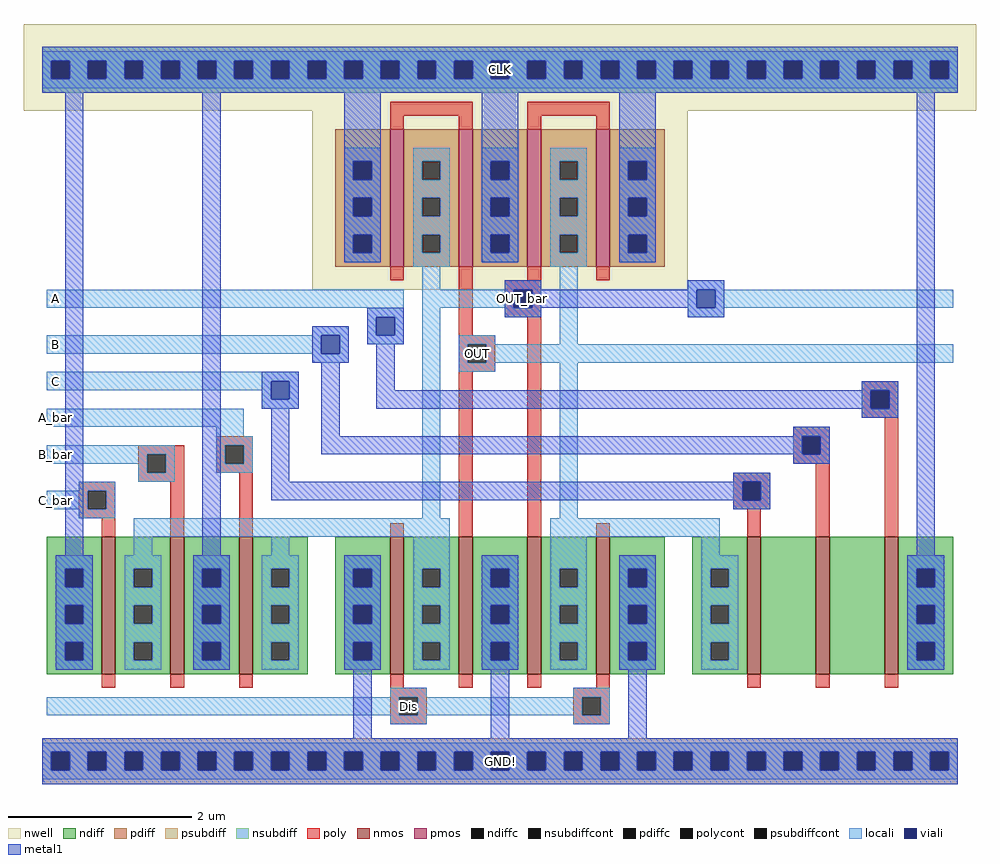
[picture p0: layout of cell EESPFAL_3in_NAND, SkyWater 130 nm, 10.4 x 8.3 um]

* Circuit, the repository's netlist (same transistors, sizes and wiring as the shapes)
* NGSPICE file created from EESPFAL_3in_NAND.ext - technology: sky130A

.subckt EESPFAL_3in_NAND A A_bar B B_bar C C_bar OUT OUT_bar Dis GND CLK
X0 CLK B_bar OUT_bar GND sky130_fd_pr__nfet_01v8 ad=7.7e+12p pd=3.36e+07u as=2.7e+12p ps=1.26e+07u w=1.5e+06u l=150000u
X1 OUT OUT_bar CLK CLK sky130_fd_pr__pfet_01v8 ad=9e+11p pd=4.2e+06u as=2.7e+12p ps=1.26e+07u w=1.5e+06u l=150000u M=2
X2 OUT OUT_bar GND GND sky130_fd_pr__nfet_01v8 ad=1.8e+12p pd=8.4e+06u as=2.7e+12p ps=1.26e+07u w=1.5e+06u l=150000u
X3 CLK A a_n720_60# GND sky130_fd_pr__nfet_01v8 ad=0p pd=0u as=9e+11p ps=4.2e+06u w=1.5e+06u l=150000u
X4 OUT_bar OUT CLK CLK sky130_fd_pr__pfet_01v8 ad=9e+11p pd=4.2e+06u as=0p ps=0u w=1.5e+06u l=150000u M=2
X5 OUT_bar A_bar CLK GND sky130_fd_pr__nfet_01v8 ad=0p pd=0u as=0p ps=0u w=1.5e+06u l=150000u
X6 a_n870_60# C OUT GND sky130_fd_pr__nfet_01v8 ad=9e+11p pd=4.2e+06u as=0p ps=0u w=1.5e+06u l=150000u
X7 OUT_bar Dis GND GND sky130_fd_pr__nfet_01v8 ad=0p pd=0u as=0p ps=0u w=1.5e+06u l=150000u
X8 GND Dis OUT GND sky130_fd_pr__nfet_01v8 ad=0p pd=0u as=0p ps=0u w=1.5e+06u l=150000u
X9 OUT_bar C_bar CLK GND sky130_fd_pr__nfet_01v8 ad=0p pd=0u as=0p ps=0u w=1.5e+06u l=150000u
X10 GND OUT OUT_bar GND sky130_fd_pr__nfet_01v8 ad=0p pd=0u as=0p ps=0u w=1.5e+06u l=150000u
X11 a_n720_60# B a_n870_60# GND sky130_fd_pr__nfet_01v8 ad=0p pd=0u as=0p ps=0u w=1.5e+06u l=150000u
.ends

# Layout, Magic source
magic
tech sky130A
<< nwell >>
rect -1240 645 -200 740
rect -925 450 -515 645
<< nmos >>
rect -1155 30 -1140 180
rect -1080 30 -1065 180
rect -1005 30 -990 180
rect -840 30 -825 180
rect -765 30 -750 180
rect -690 30 -675 180
rect -615 30 -600 180
rect -450 30 -435 180
rect -375 30 -360 180
rect -300 30 -285 180
<< pmos >>
rect -840 475 -825 625
rect -765 475 -750 625
rect -690 475 -675 625
rect -615 475 -600 625
<< ndiff >>
rect -1215 145 -1155 180
rect -1215 125 -1195 145
rect -1175 125 -1155 145
rect -1215 105 -1155 125
rect -1215 85 -1195 105
rect -1175 85 -1155 105
rect -1215 65 -1155 85
rect -1215 45 -1195 65
rect -1175 45 -1155 65
rect -1215 30 -1155 45
rect -1140 145 -1080 180
rect -1140 125 -1120 145
rect -1100 125 -1080 145
rect -1140 105 -1080 125
rect -1140 85 -1120 105
rect -1100 85 -1080 105
rect -1140 65 -1080 85
rect -1140 45 -1120 65
rect -1100 45 -1080 65
rect -1140 30 -1080 45
rect -1065 145 -1005 180
rect -1065 125 -1045 145
rect -1025 125 -1005 145
rect -1065 105 -1005 125
rect -1065 85 -1045 105
rect -1025 85 -1005 105
rect -1065 65 -1005 85
rect -1065 45 -1045 65
rect -1025 45 -1005 65
rect -1065 30 -1005 45
rect -990 145 -930 180
rect -990 125 -970 145
rect -950 125 -930 145
rect -990 105 -930 125
rect -990 85 -970 105
rect -950 85 -930 105
rect -990 65 -930 85
rect -990 45 -970 65
rect -950 45 -930 65
rect -990 30 -930 45
rect -900 145 -840 180
rect -900 125 -880 145
rect -860 125 -840 145
rect -900 105 -840 125
rect -900 85 -880 105
rect -860 85 -840 105
rect -900 65 -840 85
rect -900 45 -880 65
rect -860 45 -840 65
rect -900 30 -840 45
rect -825 145 -765 180
rect -825 125 -805 145
rect -785 125 -765 145
rect -825 105 -765 125
rect -825 85 -805 105
rect -785 85 -765 105
rect -825 65 -765 85
rect -825 45 -805 65
rect -785 45 -765 65
rect -825 30 -765 45
rect -750 145 -690 180
rect -750 125 -730 145
rect -710 125 -690 145
rect -750 105 -690 125
rect -750 85 -730 105
rect -710 85 -690 105
rect -750 65 -690 85
rect -750 45 -730 65
rect -710 45 -690 65
rect -750 30 -690 45
rect -675 145 -615 180
rect -675 125 -655 145
rect -635 125 -615 145
rect -675 105 -615 125
rect -675 85 -655 105
rect -635 85 -615 105
rect -675 65 -615 85
rect -675 45 -655 65
rect -635 45 -615 65
rect -675 30 -615 45
rect -600 145 -540 180
rect -600 125 -580 145
rect -560 125 -540 145
rect -600 105 -540 125
rect -600 85 -580 105
rect -560 85 -540 105
rect -600 65 -540 85
rect -600 45 -580 65
rect -560 45 -540 65
rect -600 30 -540 45
rect -510 145 -450 180
rect -510 125 -490 145
rect -470 125 -450 145
rect -510 105 -450 125
rect -510 85 -490 105
rect -470 85 -450 105
rect -510 65 -450 85
rect -510 45 -490 65
rect -470 45 -450 65
rect -510 30 -450 45
rect -435 30 -375 180
rect -360 30 -300 180
rect -285 145 -225 180
rect -285 125 -265 145
rect -245 125 -225 145
rect -285 105 -225 125
rect -285 85 -265 105
rect -245 85 -225 105
rect -285 65 -225 85
rect -285 45 -265 65
rect -245 45 -225 65
rect -285 30 -225 45
<< pdiff >>
rect -900 590 -840 625
rect -900 570 -880 590
rect -860 570 -840 590
rect -900 550 -840 570
rect -900 530 -880 550
rect -860 530 -840 550
rect -900 510 -840 530
rect -900 490 -880 510
rect -860 490 -840 510
rect -900 475 -840 490
rect -825 590 -765 625
rect -825 570 -805 590
rect -785 570 -765 590
rect -825 550 -765 570
rect -825 530 -805 550
rect -785 530 -765 550
rect -825 510 -765 530
rect -825 490 -805 510
rect -785 490 -765 510
rect -825 475 -765 490
rect -750 590 -690 625
rect -750 570 -730 590
rect -710 570 -690 590
rect -750 550 -690 570
rect -750 530 -730 550
rect -710 530 -690 550
rect -750 510 -690 530
rect -750 490 -730 510
rect -710 490 -690 510
rect -750 475 -690 490
rect -675 590 -615 625
rect -675 570 -655 590
rect -635 570 -615 590
rect -675 550 -615 570
rect -675 530 -655 550
rect -635 530 -615 550
rect -675 510 -615 530
rect -675 490 -655 510
rect -635 490 -615 510
rect -675 475 -615 490
rect -600 590 -540 625
rect -600 570 -580 590
rect -560 570 -540 590
rect -600 550 -540 570
rect -600 530 -580 550
rect -560 530 -540 550
rect -600 510 -540 530
rect -600 490 -580 510
rect -560 490 -540 510
rect -600 475 -540 490
<< ndiffc >>
rect -1195 125 -1175 145
rect -1195 85 -1175 105
rect -1195 45 -1175 65
rect -1120 125 -1100 145
rect -1120 85 -1100 105
rect -1120 45 -1100 65
rect -1045 125 -1025 145
rect -1045 85 -1025 105
rect -1045 45 -1025 65
rect -970 125 -950 145
rect -970 85 -950 105
rect -970 45 -950 65
rect -880 125 -860 145
rect -880 85 -860 105
rect -880 45 -860 65
rect -805 125 -785 145
rect -805 85 -785 105
rect -805 45 -785 65
rect -730 125 -710 145
rect -730 85 -710 105
rect -730 45 -710 65
rect -655 125 -635 145
rect -655 85 -635 105
rect -655 45 -635 65
rect -580 125 -560 145
rect -580 85 -560 105
rect -580 45 -560 65
rect -490 125 -470 145
rect -490 85 -470 105
rect -490 45 -470 65
rect -265 125 -245 145
rect -265 85 -245 105
rect -265 45 -245 65
<< pdiffc >>
rect -880 570 -860 590
rect -880 530 -860 550
rect -880 490 -860 510
rect -805 570 -785 590
rect -805 530 -785 550
rect -805 490 -785 510
rect -730 570 -710 590
rect -730 530 -710 550
rect -730 490 -710 510
rect -655 570 -635 590
rect -655 530 -635 550
rect -655 490 -635 510
rect -580 570 -560 590
rect -580 530 -560 550
rect -580 490 -560 510
<< psubdiff >>
rect -1220 -55 -220 -40
rect -1220 -75 -1210 -55
rect -1190 -75 -1170 -55
rect -1150 -75 -1130 -55
rect -1110 -75 -1090 -55
rect -1070 -75 -1050 -55
rect -1030 -75 -1010 -55
rect -990 -75 -970 -55
rect -950 -75 -930 -55
rect -910 -75 -890 -55
rect -870 -75 -850 -55
rect -830 -75 -810 -55
rect -790 -75 -770 -55
rect -750 -75 -730 -55
rect -710 -75 -690 -55
rect -670 -75 -650 -55
rect -630 -75 -610 -55
rect -590 -75 -570 -55
rect -550 -75 -530 -55
rect -510 -75 -490 -55
rect -470 -75 -450 -55
rect -430 -75 -410 -55
rect -390 -75 -370 -55
rect -350 -75 -330 -55
rect -310 -75 -290 -55
rect -270 -75 -250 -55
rect -230 -75 -220 -55
rect -1220 -90 -220 -75
<< nsubdiff >>
rect -1220 700 -220 715
rect -1220 680 -1210 700
rect -1190 680 -1170 700
rect -1150 680 -1130 700
rect -1110 680 -1090 700
rect -1070 680 -1050 700
rect -1030 680 -1010 700
rect -990 680 -970 700
rect -950 680 -930 700
rect -910 680 -890 700
rect -870 680 -850 700
rect -830 680 -810 700
rect -790 680 -770 700
rect -750 680 -730 700
rect -710 680 -690 700
rect -670 680 -650 700
rect -630 680 -610 700
rect -590 680 -570 700
rect -550 680 -530 700
rect -510 680 -490 700
rect -470 680 -450 700
rect -430 680 -410 700
rect -390 680 -370 700
rect -350 680 -330 700
rect -310 680 -290 700
rect -270 680 -250 700
rect -230 680 -220 700
rect -1220 665 -220 680
<< psubdiffcont >>
rect -1210 -75 -1190 -55
rect -1170 -75 -1150 -55
rect -1130 -75 -1110 -55
rect -1090 -75 -1070 -55
rect -1050 -75 -1030 -55
rect -1010 -75 -990 -55
rect -970 -75 -950 -55
rect -930 -75 -910 -55
rect -890 -75 -870 -55
rect -850 -75 -830 -55
rect -810 -75 -790 -55
rect -770 -75 -750 -55
rect -730 -75 -710 -55
rect -690 -75 -670 -55
rect -650 -75 -630 -55
rect -610 -75 -590 -55
rect -570 -75 -550 -55
rect -530 -75 -510 -55
rect -490 -75 -470 -55
rect -450 -75 -430 -55
rect -410 -75 -390 -55
rect -370 -75 -350 -55
rect -330 -75 -310 -55
rect -290 -75 -270 -55
rect -250 -75 -230 -55
<< nsubdiffcont >>
rect -1210 680 -1190 700
rect -1170 680 -1150 700
rect -1130 680 -1110 700
rect -1090 680 -1070 700
rect -1050 680 -1030 700
rect -1010 680 -990 700
rect -970 680 -950 700
rect -930 680 -910 700
rect -890 680 -870 700
rect -850 680 -830 700
rect -810 680 -790 700
rect -770 680 -750 700
rect -730 680 -710 700
rect -690 680 -670 700
rect -650 680 -630 700
rect -610 680 -590 700
rect -570 680 -550 700
rect -530 680 -510 700
rect -490 680 -470 700
rect -450 680 -430 700
rect -410 680 -390 700
rect -370 680 -350 700
rect -330 680 -310 700
rect -290 680 -270 700
rect -250 680 -230 700
<< poly >>
rect -840 640 -750 655
rect -840 625 -825 640
rect -765 625 -750 640
rect -690 640 -600 655
rect -690 625 -675 640
rect -615 625 -600 640
rect -840 460 -825 475
rect -765 400 -750 475
rect -690 460 -675 475
rect -615 460 -600 475
rect -715 450 -675 460
rect -715 430 -705 450
rect -685 430 -675 450
rect -715 420 -675 430
rect -765 390 -725 400
rect -765 370 -755 390
rect -735 370 -725 390
rect -765 360 -725 370
rect -1030 280 -990 290
rect -1115 270 -1065 280
rect -1115 250 -1105 270
rect -1085 250 -1065 270
rect -1030 260 -1020 280
rect -1000 260 -990 280
rect -1030 250 -990 260
rect -1115 240 -1065 250
rect -1180 230 -1140 240
rect -1180 210 -1170 230
rect -1150 210 -1140 230
rect -1180 200 -1140 210
rect -1155 180 -1140 200
rect -1080 180 -1065 240
rect -1005 180 -990 250
rect -840 180 -825 195
rect -765 180 -750 360
rect -690 180 -675 420
rect -325 340 -285 350
rect -325 320 -315 340
rect -295 320 -285 340
rect -325 310 -285 320
rect -400 290 -360 300
rect -400 270 -390 290
rect -370 270 -360 290
rect -400 260 -360 270
rect -465 240 -425 250
rect -465 220 -455 240
rect -435 220 -425 240
rect -465 210 -425 220
rect -615 180 -600 195
rect -450 180 -435 210
rect -375 180 -360 260
rect -300 180 -285 310
rect -1155 15 -1140 30
rect -1080 15 -1065 30
rect -1005 15 -990 30
rect -840 15 -825 30
rect -765 15 -750 30
rect -690 15 -675 30
rect -615 15 -600 30
rect -450 15 -435 30
rect -375 15 -360 30
rect -300 15 -285 30
rect -840 5 -800 15
rect -840 -15 -830 5
rect -810 -15 -800 5
rect -840 -25 -800 -15
rect -640 5 -600 15
rect -640 -15 -630 5
rect -610 -15 -600 5
rect -640 -25 -600 -15
<< polycont >>
rect -705 430 -685 450
rect -755 370 -735 390
rect -1105 250 -1085 270
rect -1020 260 -1000 280
rect -1170 210 -1150 230
rect -315 320 -295 340
rect -390 270 -370 290
rect -455 220 -435 240
rect -830 -15 -810 5
rect -630 -15 -610 5
<< locali >>
rect -1220 700 -220 710
rect -1220 680 -1210 700
rect -1190 680 -1170 700
rect -1150 680 -1130 700
rect -1110 680 -1090 700
rect -1070 680 -1050 700
rect -1030 680 -1010 700
rect -990 680 -970 700
rect -950 680 -930 700
rect -910 680 -890 700
rect -870 680 -850 700
rect -830 680 -810 700
rect -790 680 -770 700
rect -750 680 -730 700
rect -710 680 -690 700
rect -670 680 -650 700
rect -630 680 -610 700
rect -590 680 -570 700
rect -550 680 -530 700
rect -510 680 -490 700
rect -470 680 -450 700
rect -430 680 -410 700
rect -390 680 -370 700
rect -350 680 -330 700
rect -310 680 -290 700
rect -270 680 -250 700
rect -230 680 -220 700
rect -1220 670 -220 680
rect -890 590 -850 605
rect -890 570 -880 590
rect -860 570 -850 590
rect -890 550 -850 570
rect -890 530 -880 550
rect -860 530 -850 550
rect -890 510 -850 530
rect -890 490 -880 510
rect -860 490 -850 510
rect -890 480 -850 490
rect -815 590 -775 605
rect -815 570 -805 590
rect -785 570 -775 590
rect -815 550 -775 570
rect -815 530 -805 550
rect -785 530 -775 550
rect -815 510 -775 530
rect -815 490 -805 510
rect -785 490 -775 510
rect -815 475 -775 490
rect -740 590 -700 605
rect -740 570 -730 590
rect -710 570 -700 590
rect -740 550 -700 570
rect -740 530 -730 550
rect -710 530 -700 550
rect -740 510 -700 530
rect -740 490 -730 510
rect -710 490 -700 510
rect -740 480 -700 490
rect -665 590 -625 605
rect -665 570 -655 590
rect -635 570 -625 590
rect -665 550 -625 570
rect -665 530 -655 550
rect -635 530 -625 550
rect -665 510 -625 530
rect -665 490 -655 510
rect -635 490 -625 510
rect -665 475 -625 490
rect -590 590 -550 605
rect -590 570 -580 590
rect -560 570 -550 590
rect -590 550 -550 570
rect -590 530 -580 550
rect -560 530 -550 550
rect -590 510 -550 530
rect -590 490 -580 510
rect -560 490 -550 510
rect -590 480 -550 490
rect -805 450 -785 475
rect -715 450 -675 460
rect -1215 430 -825 450
rect -865 420 -825 430
rect -925 400 -885 410
rect -1215 380 -915 400
rect -895 380 -885 400
rect -865 400 -855 420
rect -835 400 -825 420
rect -865 390 -825 400
rect -805 430 -705 450
rect -685 430 -675 450
rect -925 370 -885 380
rect -1215 350 -940 360
rect -1215 340 -970 350
rect -980 330 -970 340
rect -950 330 -940 350
rect -980 320 -940 330
rect -1215 300 -1000 320
rect -1030 290 -1000 300
rect -1030 280 -990 290
rect -1215 270 -1075 280
rect -1215 260 -1105 270
rect -1115 250 -1105 260
rect -1085 250 -1075 270
rect -1030 260 -1020 280
rect -1000 260 -990 280
rect -1030 250 -990 260
rect -1115 240 -1075 250
rect -1180 230 -1140 240
rect -1215 210 -1170 230
rect -1150 210 -1140 230
rect -1180 200 -1140 210
rect -805 200 -785 430
rect -715 420 -675 430
rect -765 390 -725 400
rect -655 390 -635 475
rect -515 450 -475 460
rect -515 430 -505 450
rect -485 430 -225 450
rect -515 420 -475 430
rect -765 370 -755 390
rect -735 370 -225 390
rect -765 360 -725 370
rect -655 200 -635 370
rect -325 340 -285 350
rect -325 320 -315 340
rect -295 320 -285 340
rect -325 310 -285 320
rect -400 290 -360 300
rect -400 270 -390 290
rect -370 270 -360 290
rect -400 260 -360 270
rect -465 240 -425 250
rect -465 220 -455 240
rect -435 220 -425 240
rect -465 210 -425 220
rect -1120 180 -775 200
rect -1120 160 -1100 180
rect -970 160 -950 180
rect -1205 145 -1165 160
rect -1205 125 -1195 145
rect -1175 125 -1165 145
rect -1205 105 -1165 125
rect -1205 85 -1195 105
rect -1175 85 -1165 105
rect -1205 65 -1165 85
rect -1205 45 -1195 65
rect -1175 45 -1165 65
rect -1205 35 -1165 45
rect -1130 145 -1090 160
rect -1130 125 -1120 145
rect -1100 125 -1090 145
rect -1130 105 -1090 125
rect -1130 85 -1120 105
rect -1100 85 -1090 105
rect -1130 65 -1090 85
rect -1130 45 -1120 65
rect -1100 45 -1090 65
rect -1130 35 -1090 45
rect -1055 145 -1015 160
rect -1055 125 -1045 145
rect -1025 125 -1015 145
rect -1055 105 -1015 125
rect -1055 85 -1045 105
rect -1025 85 -1015 105
rect -1055 65 -1015 85
rect -1055 45 -1045 65
rect -1025 45 -1015 65
rect -1055 35 -1015 45
rect -980 145 -940 160
rect -980 125 -970 145
rect -950 125 -940 145
rect -980 105 -940 125
rect -980 85 -970 105
rect -950 85 -940 105
rect -980 65 -940 85
rect -980 45 -970 65
rect -950 45 -940 65
rect -980 35 -940 45
rect -890 145 -850 160
rect -890 125 -880 145
rect -860 125 -850 145
rect -890 105 -850 125
rect -890 85 -880 105
rect -860 85 -850 105
rect -890 65 -850 85
rect -890 45 -880 65
rect -860 45 -850 65
rect -890 35 -850 45
rect -815 145 -775 180
rect -665 180 -480 200
rect -815 125 -805 145
rect -785 125 -775 145
rect -815 105 -775 125
rect -815 85 -805 105
rect -785 85 -775 105
rect -815 65 -775 85
rect -815 45 -805 65
rect -785 45 -775 65
rect -815 35 -775 45
rect -740 145 -700 160
rect -740 125 -730 145
rect -710 125 -700 145
rect -740 105 -700 125
rect -740 85 -730 105
rect -710 85 -700 105
rect -740 65 -700 85
rect -740 45 -730 65
rect -710 45 -700 65
rect -740 35 -700 45
rect -665 145 -625 180
rect -500 160 -480 180
rect -665 125 -655 145
rect -635 125 -625 145
rect -665 105 -625 125
rect -665 85 -655 105
rect -635 85 -625 105
rect -665 65 -625 85
rect -665 45 -655 65
rect -635 45 -625 65
rect -665 35 -625 45
rect -590 145 -550 160
rect -590 125 -580 145
rect -560 125 -550 145
rect -590 105 -550 125
rect -590 85 -580 105
rect -560 85 -550 105
rect -590 65 -550 85
rect -590 45 -580 65
rect -560 45 -550 65
rect -590 35 -550 45
rect -500 145 -460 160
rect -500 125 -490 145
rect -470 125 -460 145
rect -500 105 -460 125
rect -500 85 -490 105
rect -470 85 -460 105
rect -500 65 -460 85
rect -500 45 -490 65
rect -470 45 -460 65
rect -500 35 -460 45
rect -275 145 -235 160
rect -275 125 -265 145
rect -245 125 -235 145
rect -275 105 -235 125
rect -275 85 -265 105
rect -245 85 -235 105
rect -275 65 -235 85
rect -275 45 -265 65
rect -245 45 -235 65
rect -275 35 -235 45
rect -840 5 -800 15
rect -640 5 -600 15
rect -1215 -15 -830 5
rect -810 -15 -630 5
rect -610 -15 -600 5
rect -840 -25 -800 -15
rect -640 -25 -600 -15
rect -1220 -55 -220 -45
rect -1220 -75 -1210 -55
rect -1190 -75 -1170 -55
rect -1150 -75 -1130 -55
rect -1110 -75 -1090 -55
rect -1070 -75 -1050 -55
rect -1030 -75 -1010 -55
rect -990 -75 -970 -55
rect -950 -75 -930 -55
rect -910 -75 -890 -55
rect -870 -75 -850 -55
rect -830 -75 -810 -55
rect -790 -75 -770 -55
rect -750 -75 -730 -55
rect -710 -75 -690 -55
rect -670 -75 -650 -55
rect -630 -75 -610 -55
rect -590 -75 -570 -55
rect -550 -75 -530 -55
rect -510 -75 -490 -55
rect -470 -75 -450 -55
rect -430 -75 -410 -55
rect -390 -75 -370 -55
rect -350 -75 -330 -55
rect -310 -75 -290 -55
rect -270 -75 -250 -55
rect -230 -75 -220 -55
rect -1220 -85 -220 -75
<< viali >>
rect -1210 680 -1190 700
rect -1170 680 -1150 700
rect -1130 680 -1110 700
rect -1090 680 -1070 700
rect -1050 680 -1030 700
rect -1010 680 -990 700
rect -970 680 -950 700
rect -930 680 -910 700
rect -890 680 -870 700
rect -850 680 -830 700
rect -810 680 -790 700
rect -770 680 -750 700
rect -730 680 -710 700
rect -690 680 -670 700
rect -650 680 -630 700
rect -610 680 -590 700
rect -570 680 -550 700
rect -530 680 -510 700
rect -490 680 -470 700
rect -450 680 -430 700
rect -410 680 -390 700
rect -370 680 -350 700
rect -330 680 -310 700
rect -290 680 -270 700
rect -250 680 -230 700
rect -880 570 -860 590
rect -880 530 -860 550
rect -880 490 -860 510
rect -730 570 -710 590
rect -730 530 -710 550
rect -730 490 -710 510
rect -580 570 -560 590
rect -580 530 -560 550
rect -580 490 -560 510
rect -915 380 -895 400
rect -855 400 -835 420
rect -705 430 -685 450
rect -970 330 -950 350
rect -505 430 -485 450
rect -315 320 -295 340
rect -390 270 -370 290
rect -455 220 -435 240
rect -1195 125 -1175 145
rect -1195 85 -1175 105
rect -1195 45 -1175 65
rect -1045 125 -1025 145
rect -1045 85 -1025 105
rect -1045 45 -1025 65
rect -880 125 -860 145
rect -880 85 -860 105
rect -880 45 -860 65
rect -730 125 -710 145
rect -730 85 -710 105
rect -730 45 -710 65
rect -580 125 -560 145
rect -580 85 -560 105
rect -580 45 -560 65
rect -265 125 -245 145
rect -265 85 -245 105
rect -265 45 -245 65
rect -1210 -75 -1190 -55
rect -1170 -75 -1150 -55
rect -1130 -75 -1110 -55
rect -1090 -75 -1070 -55
rect -1050 -75 -1030 -55
rect -1010 -75 -990 -55
rect -970 -75 -950 -55
rect -930 -75 -910 -55
rect -890 -75 -870 -55
rect -850 -75 -830 -55
rect -810 -75 -790 -55
rect -770 -75 -750 -55
rect -730 -75 -710 -55
rect -690 -75 -670 -55
rect -650 -75 -630 -55
rect -610 -75 -590 -55
rect -570 -75 -550 -55
rect -530 -75 -510 -55
rect -490 -75 -470 -55
rect -450 -75 -430 -55
rect -410 -75 -390 -55
rect -370 -75 -350 -55
rect -330 -75 -310 -55
rect -290 -75 -270 -55
rect -250 -75 -230 -55
<< metal1 >>
rect -1220 700 -220 715
rect -1220 680 -1210 700
rect -1190 680 -1170 700
rect -1150 680 -1130 700
rect -1110 680 -1090 700
rect -1070 680 -1050 700
rect -1030 680 -1010 700
rect -990 680 -970 700
rect -950 680 -930 700
rect -910 680 -890 700
rect -870 680 -850 700
rect -830 680 -810 700
rect -790 680 -770 700
rect -750 680 -730 700
rect -710 680 -690 700
rect -670 680 -650 700
rect -630 680 -610 700
rect -590 680 -570 700
rect -550 680 -530 700
rect -510 680 -490 700
rect -470 680 -450 700
rect -430 680 -410 700
rect -390 680 -370 700
rect -350 680 -330 700
rect -310 680 -290 700
rect -270 680 -250 700
rect -230 680 -220 700
rect -1220 665 -220 680
rect -1195 160 -1175 665
rect -1045 160 -1025 665
rect -890 590 -850 665
rect -890 570 -880 590
rect -860 570 -850 590
rect -890 550 -850 570
rect -890 530 -880 550
rect -860 530 -850 550
rect -890 510 -850 530
rect -890 490 -880 510
rect -860 490 -850 510
rect -890 480 -850 490
rect -740 590 -700 665
rect -740 570 -730 590
rect -710 570 -700 590
rect -740 550 -700 570
rect -740 530 -730 550
rect -710 530 -700 550
rect -740 510 -700 530
rect -740 490 -730 510
rect -710 490 -700 510
rect -740 480 -700 490
rect -590 590 -550 665
rect -590 570 -580 590
rect -560 570 -550 590
rect -590 550 -550 570
rect -590 530 -580 550
rect -560 530 -550 550
rect -590 510 -550 530
rect -590 490 -580 510
rect -560 490 -550 510
rect -590 480 -550 490
rect -715 450 -675 460
rect -515 450 -475 460
rect -715 430 -705 450
rect -685 430 -505 450
rect -485 430 -475 450
rect -865 420 -825 430
rect -715 420 -675 430
rect -515 420 -475 430
rect -925 400 -885 410
rect -925 380 -915 400
rect -895 380 -885 400
rect -865 400 -855 420
rect -835 400 -825 420
rect -865 390 -825 400
rect -925 370 -885 380
rect -980 350 -940 360
rect -980 330 -970 350
rect -950 330 -940 350
rect -980 320 -940 330
rect -970 240 -950 320
rect -915 290 -895 370
rect -855 340 -835 390
rect -325 340 -285 350
rect -855 320 -315 340
rect -295 320 -285 340
rect -325 310 -285 320
rect -400 290 -360 300
rect -915 270 -390 290
rect -370 270 -360 290
rect -400 260 -360 270
rect -465 240 -425 250
rect -970 220 -455 240
rect -435 220 -425 240
rect -465 210 -425 220
rect -265 160 -245 665
rect -1205 145 -1165 160
rect -1205 125 -1195 145
rect -1175 125 -1165 145
rect -1205 105 -1165 125
rect -1205 85 -1195 105
rect -1175 85 -1165 105
rect -1205 65 -1165 85
rect -1205 45 -1195 65
rect -1175 45 -1165 65
rect -1205 35 -1165 45
rect -1055 145 -1015 160
rect -1055 125 -1045 145
rect -1025 125 -1015 145
rect -1055 105 -1015 125
rect -1055 85 -1045 105
rect -1025 85 -1015 105
rect -1055 65 -1015 85
rect -1055 45 -1045 65
rect -1025 45 -1015 65
rect -1055 35 -1015 45
rect -890 145 -850 160
rect -890 125 -880 145
rect -860 125 -850 145
rect -890 105 -850 125
rect -890 85 -880 105
rect -860 85 -850 105
rect -890 65 -850 85
rect -890 45 -880 65
rect -860 45 -850 65
rect -890 35 -850 45
rect -740 145 -700 160
rect -740 125 -730 145
rect -710 125 -700 145
rect -740 105 -700 125
rect -740 85 -730 105
rect -710 85 -700 105
rect -740 65 -700 85
rect -740 45 -730 65
rect -710 45 -700 65
rect -740 35 -700 45
rect -590 145 -550 160
rect -590 125 -580 145
rect -560 125 -550 145
rect -590 105 -550 125
rect -590 85 -580 105
rect -560 85 -550 105
rect -590 65 -550 85
rect -590 45 -580 65
rect -560 45 -550 65
rect -590 35 -550 45
rect -275 145 -235 160
rect -275 125 -265 145
rect -245 125 -235 145
rect -275 105 -235 125
rect -275 85 -265 105
rect -245 85 -235 105
rect -275 65 -235 85
rect -275 45 -265 65
rect -245 45 -235 65
rect -275 35 -235 45
rect -880 -40 -860 35
rect -730 -40 -710 35
rect -580 -40 -560 35
rect -1220 -55 -220 -40
rect -1220 -75 -1210 -55
rect -1190 -75 -1170 -55
rect -1150 -75 -1130 -55
rect -1110 -75 -1090 -55
rect -1070 -75 -1050 -55
rect -1030 -75 -1010 -55
rect -990 -75 -970 -55
rect -950 -75 -930 -55
rect -910 -75 -890 -55
rect -870 -75 -850 -55
rect -830 -75 -810 -55
rect -790 -75 -770 -55
rect -750 -75 -730 -55
rect -710 -75 -690 -55
rect -670 -75 -650 -55
rect -630 -75 -610 -55
rect -590 -75 -570 -55
rect -550 -75 -530 -55
rect -510 -75 -490 -55
rect -470 -75 -450 -55
rect -430 -75 -410 -55
rect -390 -75 -370 -55
rect -350 -75 -330 -55
rect -310 -75 -290 -55
rect -270 -75 -250 -55
rect -230 -75 -220 -55
rect -1220 -90 -220 -75
<< labels >>
rlabel viali -705 430 -685 450 7 OUT_bar
port 8 w
rlabel locali -755 370 -735 390 7 OUT
port 7 w
rlabel metal1 -730 680 -710 700 7 CLK
port 11 w
rlabel locali -1210 435 -1200 445 7 A
port 1 w
rlabel locali -1210 385 -1200 395 7 B
port 3 w
rlabel locali -830 -15 -810 5 7 Dis
port 9 w
rlabel locali -1210 265 -1200 275 7 B_bar
port 4 w
rlabel locali -1210 305 -1200 315 7 A_bar
port 2 w
rlabel locali -1210 345 -1200 355 7 C
port 5 w
rlabel locali -1210 215 -1200 225 7 C_bar
port 6 w
rlabel metal1 -730 -75 -710 -55 7 GND!
port 10 w
<< end >>
